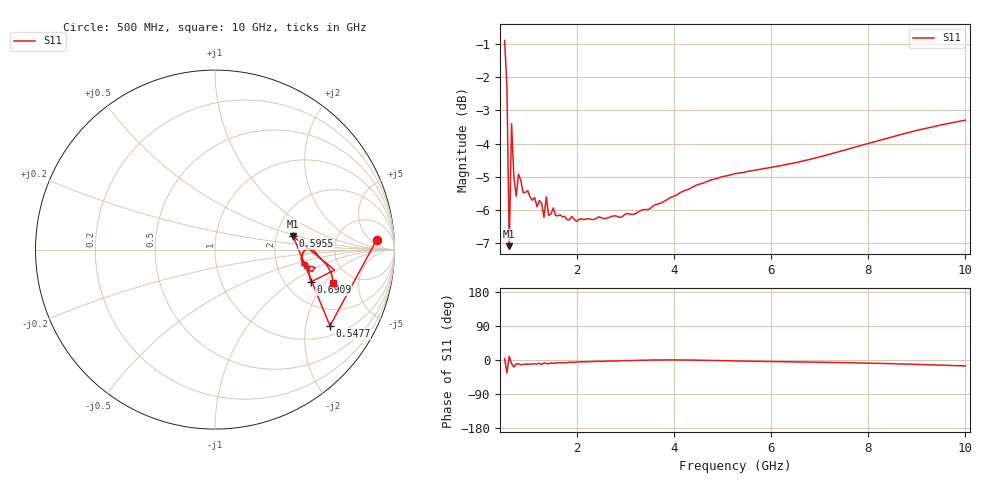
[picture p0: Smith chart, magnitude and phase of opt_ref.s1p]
# GHz S RI R 50
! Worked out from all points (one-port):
!   200 points, 500 MHz to 10 GHz, reference 50 ohm
!   lowest |S11| = -7.1 dB at 595.5 MHz (marker M1), VSWR 2.58, Z = 124 + j23 ohm
!   |S11| at or under -10 dB: nowhere
!   S11 on the Smith chart (normalised r, x): 500 MHz: 14, +9; 547.7 MHz: 1.32, -2.74; 595.5 MHz: 2.48, +0.46; 691 MHz: 2.72, -1.44; 10 GHz: 3.53, -2.46
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0.5  0.901 0.0548
0.54774  0.6406 -0.4251
0.59548  0.4355 0.0747
0.64322  0.6665 -0.1135
0.69095  0.5323 -0.1813
0.73869  0.5177 -0.0907
0.78643  0.5585 -0.0999
0.83417  0.5418 -0.1227
0.88191  0.5203 -0.1109
0.97739  0.5259 -0.1022
1.1206  0.5144 -0.0945
1.16834  0.4979 -0.0924
1.21608  0.5122 -0.0748
1.26382  0.5017 -0.1051
1.31156  0.4843 -0.0629
1.3593  0.5181 -0.0809
1.40704  0.4834 -0.0894
1.45477  0.49 -0.0621
1.50251  0.4991 -0.0736
1.55025  0.4861 -0.073
1.69347  0.4853 -0.0613
2.88693  0.4879 -0.0185
4.0804  0.5296 0.00247
5.27387  0.5682 -0.0248
6.46734  0.5877 -0.0499
7.6608  0.6164 -0.0785
8.85427  0.6443 -0.1253
10  0.6587 -0.1851
